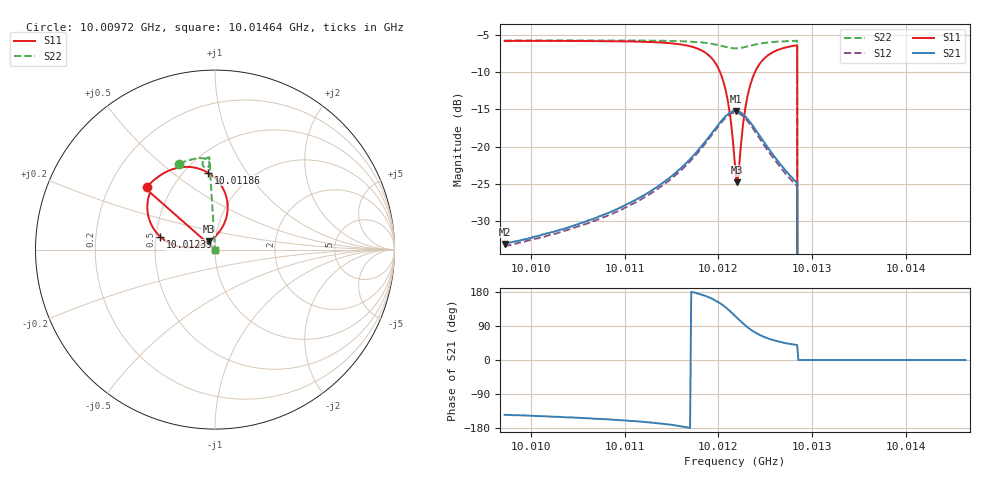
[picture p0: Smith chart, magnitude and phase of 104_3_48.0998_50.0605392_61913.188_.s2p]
#  HZ  S  RI  R  50.00
! Rohde & Schwarz Vector Network Analyzer
! Rohde-Schwarz,ZNB20-2Port,1311601062101988,3.16
! Created: UTC 12/23/2023, 3:45:05 AM
! freq[Hz]  re:S11  im:S11  re:S21  im:S21  re:S12  im:S12  re:S22  im:S22
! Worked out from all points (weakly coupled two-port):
!   401 points, 10.00972 GHz to 10.01464 GHz, reference 50 ohm
!   highest |S21| = -15.19 dB at 10.01219 GHz (marker M1); lowest = -33.1 dB at 10.00972 GHz (marker M2)
!   lowest |S11| = -24.8 dB at 10.0122 GHz (marker M3), VSWR 1.12, Z = 46.4 + j4.24 ohm
!   |S11| at or under -10 dB: 10.01202 GHz to 10.01239 GHz (370.2 kHz wide, 0.0037 % of centre); 10.01284 GHz to end of sweep
!   |S22| runs from - to -5.7 dB; largest |S21 - S12| = 0.0081
!   S11 on the Smith chart (normalised r, x): 10.00972 GHz: 0.36, +0.34; 10.01186 GHz: 0.64, +0.68; 10.01239 GHz: 0.53, +0.08; 10.01464 GHz: 1.00, +0.00
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1.0009719e10  -0.3802 0.348  -0.018 -0.0127  -0.0169 -0.0132  -0.1986 0.4788
1.0010543e10  -0.3248 0.3997  -0.0273 -0.0139  -0.0257 -0.0146  -0.1464 0.4979
1.0010949e10  -0.2852 0.4261  -0.0362 -0.0141  -0.034 -0.0152  -0.1186 0.5049
1.0011367e10  -0.221 0.4525  -0.0532 -0.0123  -0.0506 -0.0143  -0.0871 0.5093
1.0011638e10  -0.1466 0.4606  -0.0751 -0.0044  -0.0723 -0.00834  -0.0634 0.5081
1.0011859e10  -0.04 0.4292  -0.1057 0.0195  -0.1034 0.0139  -0.0413 0.4989
1.0011982e10  0.0377 0.3528  -0.1232 0.0569  -0.1227 0.0489  -0.0309 0.4854
1.0012068e10  0.0704 0.2461  -0.1228 0.0989  -0.1241 0.0911  -0.0302 0.471
1.001213e10  0.0526 0.1475  -0.1045 0.1338  -0.1071 0.1267  -0.0365 0.4613
1.0012179e10  0.00118 0.0737  -0.0773 0.1556  -0.0812 0.1489  -0.0456 0.4569
1.0012191e10  -0.0157 0.0591  -0.0696 0.1594  -0.0734 0.1527  -0.0479 0.4568
1.0012204e10  -0.0353 0.0455  -0.061 0.1623  -0.0648 0.156  -0.0506 0.4567
1.0012228e10  -0.0762 0.0256  -0.0443 0.1655  -0.0474 0.1596  -0.0555 0.4578
1.0012265e10  -0.1413 0.0123  -0.0185 0.1642  -0.0226 0.1584  -0.0617 0.4614
1.0012302e10  -0.2015 0.0175  0.00407 0.1566  -0.0013 0.1514  -0.0663 0.4669
1.0012388e10  -0.3052 0.0716  0.0379 0.1273  0.0324 0.1234  -0.0691 0.4814
1.0012548e10  -0.3727 0.1927  0.0538 0.0781  0.0482 0.0764  -0.0589 0.5008
1.0012818e10  -0.3646 0.3116  0.0449 0.0382  0.0411 0.0382  -0.0346 0.5145
1.001288e10  0 0  0 0  0 0  0 0
1.0013003e10  0 0  0 0  0 0  0 0
1.0013827e10  0 0  0 0  0 0  0 0
1.0014639e10  0 0  0 0  0 0  0 0
